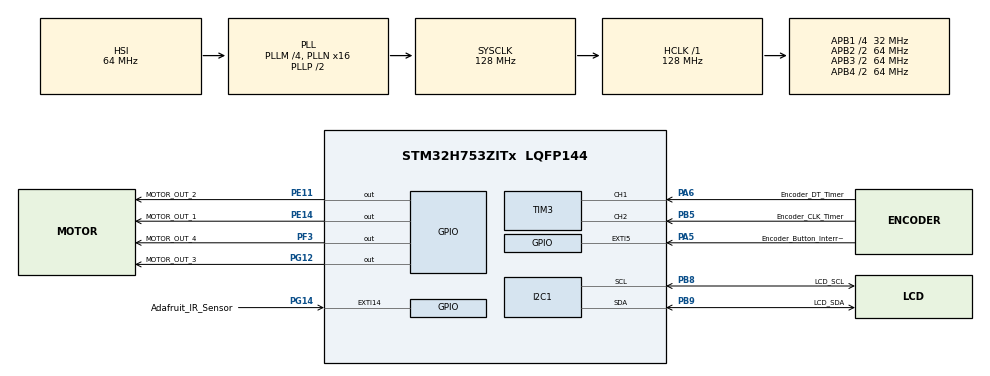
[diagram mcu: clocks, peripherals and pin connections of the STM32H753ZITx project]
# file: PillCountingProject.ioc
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CORTEX_M7.CPU_DCache=Disabled
CORTEX_M7.CPU_ICache=Disabled
CORTEX_M7.MPU_Control=__NULL
CORTEX_M7.default_mode_Activation=1
I2C1.Timing=0x00707CBB
Mcu.Family=STM32H7
Mcu.Name=STM32H753ZITx
Mcu.Package=LQFP144
NUCLEO-H753ZI.BUTTON=1
NUCLEO-H753ZI.LD1=true
NUCLEO-H753ZI.LD2=true
NUCLEO-H753ZI.LD3=true
NUCLEO-H753ZI.VCP=true
NVIC.EXTI15_10_IRQn=true\:1\:0\:true\:false\:true\:false\:true\:true
NVIC.EXTI9_5_IRQn=true\:2\:0\:true\:false\:true\:true\:true\:true
NVIC.PriorityGroup=NVIC_PRIORITYGROUP_4
PA5.GPIO_Label=Encoder_Button_Interrupt
PA5.GPIO_ModeDefaultEXTI=GPIO_MODE_IT_FALLING
PA5.GPIO_PuPd=GPIO_PULLUP
PA5.Signal=GPXTI5
PA6.GPIO_Label=Encoder_DT_Timer
PA6.Signal=S_TIM3_CH1
PB5.GPIO_Label=Encoder_CLK_Timer
PB5.Signal=S_TIM3_CH2
PB8.GPIO_Label=LCD_SCL
PB8.GPIO_Pu=GPIO_PULLUP
PB8.Mode=I2C
PB8.Signal=I2C1_SCL
PB9.GPIO_Label=LCD_SDA
PB9.GPIO_Pu=GPIO_PULLUP
PB9.Mode=I2C
PB9.Signal=I2C1_SDA
PC14-OSC32_IN\ (OSC32_IN).Signal=RCC_OSC32_IN
PC15-OSC32_OUT\ (OSC32_OUT).Signal=RCC_OSC32_OUT
PD8.Signal=USART3_TX
PD9.Signal=USART3_RX
PE11.GPIO_Label=MOTOR_OUT_2
PE11.Signal=GPIO_Output
PE14.GPIO_Label=MOTOR_OUT_1
PE14.Signal=GPIO_Output
PF3.GPIO_Label=MOTOR_OUT_4
PF3.Signal=GPIO_Output
PG12.GPIO_Label=MOTOR_OUT_3
PG12.Signal=GPIO_Output
PG14.GPIO_Label=Adafruit_IR_Sensor
PG14.GPIO_ModeDefaultEXTI=GPIO_MODE_IT_FALLING
PG14.GPIO_PuPd=GPIO_PULLUP
PG14.Signal=GPXTI14
PH0-OSC_IN\ (PH0).Mode=HSE-External-Clock-Source
PH0-OSC_IN\ (PH0).Signal=RCC_OSC_IN
PH1-OSC_OUT\ (PH1).Signal=RCC_OSC_OUT
ProjectManager.HeapSize=0x200
ProjectManager.StackSize=0x400
ProjectManager.TargetToolchain=STM32CubeIDE
RCC.ADCFreq_Value=129000000
RCC.APB1Freq_Value=32000000
RCC.APB2Freq_Value=64000000
RCC.APB3Freq_Value=64000000
RCC.APB4Freq_Value=64000000
RCC.CortexFreq_Value=128000000
RCC.D1PPRE=RCC_APB3_DIV2
RCC.D2PPRE1=RCC_APB1_DIV4
RCC.D2PPRE2=RCC_APB2_DIV2
RCC.D3PPRE=RCC_APB4_DIV2
RCC.DIVM1=4
RCC.DIVN1=16
RCC.DIVQ1=4
RCC.HCLKFreq_Value=128000000
RCC.HSE_VALUE=8000000
RCC.PLL2FRACN=0
RCC.PLL3FRACN=0
RCC.PLLFRACN=0
RCC.SYSCLKFreq_VALUE=128000000
RCC.SYSCLKSource=RCC_SYSCLKSOURCE_PLLCLK
RCC.USBFreq_Value=64000000
SH.S_TIM3_CH1.0=TIM3_CH1,Encoder_Interface
SH.S_TIM3_CH2.0=TIM3_CH2,Encoder_Interface
VP_MEMORYMAP_VS_MEMORYMAP.Mode=CurAppReg
VP_NUCLEO-H753ZI_VS_BSP_COMMON.Mode=COMMON
board=NUCLEO-H753ZI

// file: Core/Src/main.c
/* USER CODE BEGIN Header */
/**
  ******************************************************************************
  * @file           : main.c
  * @brief          : Main program body
  ******************************************************************************
  * @attention
  *
  * Copyright (c) 2026 STMicroelectronics.
  * All rights reserved.
  *
  * This software is licensed under terms that can be found in the LICENSE file
  * in the root directory of this software component.
  * If no LICENSE file comes with this software, it is provided AS-IS.
  *
  ******************************************************************************
  */
/* USER CODE END Header */
#include "main.h"
#include "i2c.h"
#include "tim.h"
#include "gpio.h"

/* USER CODE BEGIN Includes */

//including all the function files
#include "SystemConfig.h"
#include "MotorDriver.h"
#include "BeamSensorHandler.h"
#include "UserInterface.h"
/* USER CODE END Includes */

COM_InitTypeDef BspCOMInit;

void SystemClock_Config(void);

int main(void)
{

  /* MCU Configuration--------------------------------------------------------*/

  /* Reset of all peripherals, Initializes the Flash interface and the Systick. */
  HAL_Init();

  /* Configure the system clock */
  SystemClock_Config();

  /* Initialize all configured peripherals */
  MX_GPIO_Init();
  MX_I2C1_Init();
  MX_TIM3_Init();
  /* USER CODE BEGIN 2 */

  //Initializing all required components
  System_Init();
  Motor_Init();
  UI_Init();
  /* USER CODE END 2 */

  /* Initialize leds */
  BSP_LED_Init(LED_GREEN);
  BSP_LED_Init(LED_YELLOW);
  BSP_LED_Init(LED_RED);

  /* Initialize USER push-button, will be used to trigger an interrupt each time it's pressed.*/
  BSP_PB_Init(BUTTON_USER, BUTTON_MODE_EXTI);

  /* Initialize COM1 port (115200, 8 bits (7-bit data + 1 stop bit), no parity */
  BspCOMInit.BaudRate   = 115200;
  BspCOMInit.WordLength = COM_WORDLENGTH_8B;
  BspCOMInit.StopBits   = COM_STOPBITS_1;
  BspCOMInit.Parity     = COM_PARITY_NONE;
  BspCOMInit.HwFlowCtl  = COM_HWCONTROL_NONE;
  if (BSP_COM_Init(COM1, &BspCOMInit) != BSP_ERROR_NONE)
  {
    Error_Handler();
  }

  /* Infinite loop */
  while (1)
  {

    /* USER CODE BEGIN 3 */
	//control loop code - interrupt functions called at bottom

	  //checking/updating the state at the start of each loop
	  System_ProcessState();

	  //updating the LCD/reading encoder if needed
	  UI_Update();

	  //stepping motor if correct step time and state
	  Motor_Update();

  }
  /* USER CODE END 3 */
}

void SystemClock_Config(void)
{
  RCC_OscInitTypeDef RCC_OscInitStruct = {0};
  RCC_ClkInitTypeDef RCC_ClkInitStruct = {0};

  /** Supply configuration update enable
  */
  HAL_PWREx_ConfigSupply(PWR_LDO_SUPPLY);

  /** Configure the main internal regulator output voltage
  */
  __HAL_PWR_VOLTAGESCALING_CONFIG(PWR_REGULATOR_VOLTAGE_SCALE3);

  while(!__HAL_PWR_GET_FLAG(PWR_FLAG_VOSRDY)) {}

  /** Initializes the RCC Oscillators according to the specified parameters
  * in the RCC_OscInitTypeDef structure.
  */
  RCC_OscInitStruct.OscillatorType = RCC_OSCILLATORTYPE_HSI;
  RCC_OscInitStruct.HSIState = RCC_HSI_DIV1;
  RCC_OscInitStruct.HSICalibrationValue = RCC_HSICALIBRATION_DEFAULT;
  RCC_OscInitStruct.PLL.PLLState = RCC_PLL_ON;
  RCC_OscInitStruct.PLL.PLLSource = RCC_PLLSOURCE_HSI;
  RCC_OscInitStruct.PLL.PLLM = 4;
  RCC_OscInitStruct.PLL.PLLN = 16;
  RCC_OscInitStruct.PLL.PLLP = 2;
  RCC_OscInitStruct.PLL.PLLQ = 4;
  RCC_OscInitStruct.PLL.PLLR = 2;
  RCC_OscInitStruct.PLL.PLLRGE = RCC_PLL1VCIRANGE_3;
  RCC_OscInitStruct.PLL.PLLVCOSEL = RCC_PLL1VCOWIDE;
  RCC_OscInitStruct.PLL.PLLFRACN = 0;
  if (HAL_RCC_OscConfig(&RCC_OscInitStruct) != HAL_OK)
  {
    Error_Handler();
  }

  /** Initializes the CPU, AHB and APB buses clocks
  */
  RCC_ClkInitStruct.ClockType = RCC_CLOCKTYPE_HCLK|RCC_CLOCKTYPE_SYSCLK
                              |RCC_CLOCKTYPE_PCLK1|RCC_CLOCKTYPE_PCLK2
                              |RCC_CLOCKTYPE_D3PCLK1|RCC_CLOCKTYPE_D1PCLK1;
  RCC_ClkInitStruct.SYSCLKSource = RCC_SYSCLKSOURCE_PLLCLK;
  RCC_ClkInitStruct.SYSCLKDivider = RCC_SYSCLK_DIV1;
  RCC_ClkInitStruct.AHBCLKDivider = RCC_HCLK_DIV1;
  RCC_ClkInitStruct.APB3CLKDivider = RCC_APB3_DIV2;
  RCC_ClkInitStruct.APB1CLKDivider = RCC_APB1_DIV4;
  RCC_ClkInitStruct.APB2CLKDivider = RCC_APB2_DIV2;
  RCC_ClkInitStruct.APB4CLKDivider = RCC_APB4_DIV2;

  if (HAL_RCC_ClockConfig(&RCC_ClkInitStruct, FLASH_LATENCY_2) != HAL_OK)
  {
    Error_Handler();
  }
}

/* USER CODE BEGIN 4 */

//External Interrupt callback function
void HAL_GPIO_EXTI_Callback(uint16_t GPIO_Pin)
{
	//IR sensor interrupt handle
	if(GPIO_Pin == Adafruit_IR_Sensor_Pin)
	{
		Sensor_HandlePillDrop();
	}

	//handling encoder button press
	else if (GPIO_Pin == Encoder_Button_Interrupt_Pin)
	{
		UI_HandleButtonPress();
	}
}

/* USER CODE END 4 */

void Error_Handler(void)
{
  /* USER CODE BEGIN Error_Handler_Debug */
  /* User can add his own implementation to report the HAL error return state */
  __disable_irq();

  BSP_LED_On(LED_RED); //turning red led on here to show hardware error
  while (1)
  {
  }
  /* USER CODE END Error_Handler_Debug */
}
